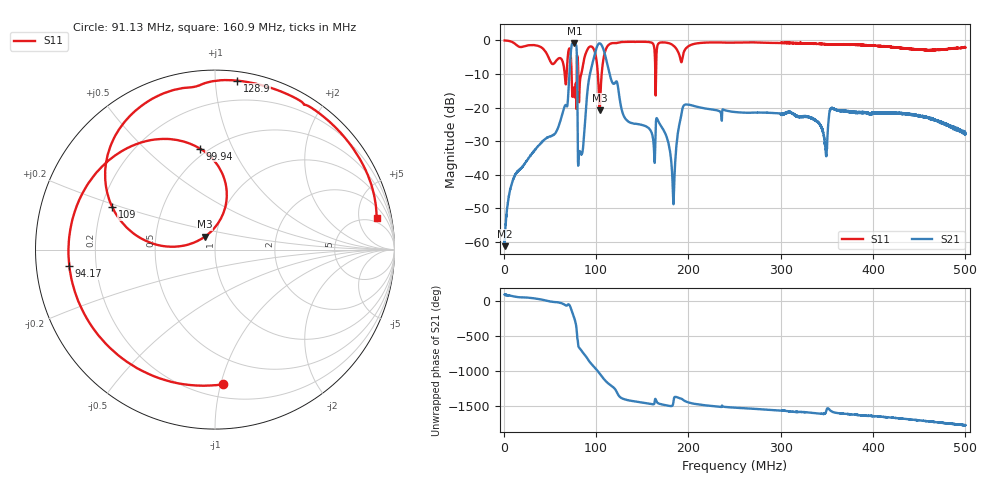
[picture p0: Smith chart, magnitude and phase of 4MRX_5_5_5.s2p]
! NanoVNA-App
! Date: 2026-08-19 14:22:48
! Start: 1MHz Stop: 500MHz Points: 6401
! S-Parameter data: F S11 S21 S12 S22
# Hz S RI R 50
!  Frequency  S11_Real  S11_Imag  S21_Real  S21_Imag  S12_Real  S12_Imag  S22_Real  S22_Imag
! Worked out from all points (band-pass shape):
!   6401 points, 1 MHz to 500 MHz, reference 50 ohm
!   highest |S21| = -0.74 dB at 76.55 MHz (marker M1); lowest = -61.2 dB at 1 MHz (marker M2)
!   |S21| within 3 dB of the highest: 72.64 MHz to 79.14 MHz (6.507 MHz wide, 8.57 % of centre); 98.93 MHz to 109.3 MHz (10.32 MHz wide, 9.92 % of centre)
!   lowest |S11| = -20.8 dB at 104 MHz (marker M3), VSWR 1.20, Z = 44.1 + j6.34 ohm
!   |S11| at or under -10 dB: 73.56 MHz to 79.06 MHz (5.503 MHz wide, 7.21 % of centre); 80.81 MHz to 83.96 MHz (3.151 MHz wide, 3.82 % of centre); 102 MHz to 106.1 MHz (4.121 MHz wide, 3.96 % of centre)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
!   S12 and S22 are empty: the file has one direction only
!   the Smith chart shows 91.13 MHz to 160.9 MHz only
!   S11 on the Smith chart (normalised r, x): 91.13 MHz: 0.30, -1.02; 94.17 MHz: 0.10, -0.06; 99.94 MHz: 0.45, +0.75; 109 MHz: 0.24, +0.19; 128.9 MHz: 0.06, +1.14; 160.9 MHz: 3.91, +8.64
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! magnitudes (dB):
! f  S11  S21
! 1 MHz  0.0  -61.2
! 11.99 MHz  -0.9  -40.2
! 59.4 MHz  -5.3  -25.6
! 76.55 MHz  -16.2  -0.7
! 82.24 MHz  -13.6  -32.9
! 84.19 MHz  -9.8  -33.9
! 91.13 MHz  -2.5  -14.0
! 94.17 MHz  -1.8  -9.0
! 99.94 MHz  -4.9  -2.8
! 104 MHz  -20.8  -0.9
! 109 MHz  -4.2  -3.5
! 128.9 MHz  -0.5  -21.6
! 160.9 MHz  -0.7  -28.1
! 167.4 MHz  -1.0  -24.0
! 183.5 MHz  -1.4  -47.3
! 195.9 MHz  -2.9  -19.2
! 250.5 MHz  -0.6  -21.3
! 333.7 MHz  -0.9  -23.2
! 348.4 MHz  -1.1  -32.2
! 355.5 MHz  -1.1  -20.2
! 416.9 MHz  -1.9  -21.5
! 500 MHz  -2.1  -27.9
